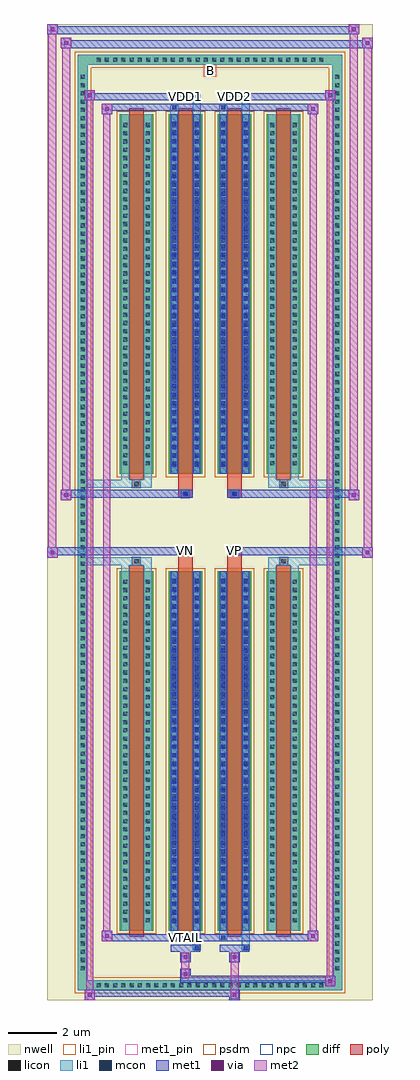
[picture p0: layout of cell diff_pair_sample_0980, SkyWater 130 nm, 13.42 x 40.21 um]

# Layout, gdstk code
import gdstk
lib = gdstk.Library(unit=1e-6, precision=5e-09)
def R(c, l, rs):  # rectangles x0, y0, x1, y1
    for r in rs: c.add(gdstk.rectangle(r[:2], r[2:], *l))
def A(c, l, x, y, w, h, nx, ny, dx, dy):  # array of equal rectangles
    R(c, l, [(x+i*dx, y+j*dy, x+i*dx+w, y+j*dy+h) for i in range(nx) for j in range(ny)])
def P(c, l, *ps):  # polygons
    for p in ps: c.add(gdstk.Polygon(p, *l))
nwell = (64, 20)
diff = (65, 20)
poly = (66, 20)
licon = (66, 44)
li1_pin = (67, 16)
li1 = (67, 20)
mcon = (67, 44)
met1_pin = (68, 16)
met1 = (68, 20)
via = (68, 44)
met2 = (69, 20)
psdm = (94, 20)
npc = (95, 20)

diff_pair_sample_0980 = lib.new_cell('diff_pair_sample_0980')
R(diff_pair_sample_0980, nwell, [(-6.71,-19.67,6.71,20.54), (-4.03,-17.86,-0.01,-0.82), (0.01,-17.86,4.03,-0.82), (-4.03,0.82,-0.01,17.86), (0.01,0.82,4.03,17.86)])
A(diff_pair_sample_0980, diff, -4.795, -19.27, 0.41, 0.41, 28, 2, 0.34, 38.13)
A(diff_pair_sample_0980, diff, -5.44, -18.565, 0.41, 0.41, 1, 109, 0, 0.34)
A(diff_pair_sample_0980, diff, 5.03, -18.565, 0.41, 0.41, 1, 109, 0, 0.34)
A(diff_pair_sample_0980, diff, -3.72, -16.815, 1.38, 14.81, 4, 2, 2.02, 18.82)
R(diff_pair_sample_0980, diff, [(-4.795,-19.27,4.795,-18.86), (-5.44,-18.565,-5.03,18.565), (5.03,-18.565,5.44,18.565), (-4.795,18.86,4.795,19.27)])
P(diff_pair_sample_0980, diff, [(5.44,19.27),(-5.44,19.27),(-5.44,-18.86),(-5.03,-18.86),(-5.03,18.86),(5.03,18.86),(5.03,-18.86),(-5.03,-18.86),(-5.44,-18.86),(-5.44,-19.27),(5.44,-19.27)])
A(diff_pair_sample_0980, poly, -3.33, -17.065, 0.6, 15.31, 4, 2, 2.02, 18.82)
R(diff_pair_sample_0980, poly, [(-3.195,-1.755,-2.865,-1.425), (-3.195,-1.755,-2.865,-1.425), (-1.31,-1.755,-0.71,-1.35), (0.71,-1.755,1.31,-1.35), (2.865,-1.755,3.195,-1.425), (2.865,-1.755,3.195,-1.425), (-1.31,-1.35,-0.71,-1.02), (-1.175,-1.35,-0.845,-1.02), (0.71,-1.35,1.31,-1.02), (0.845,-1.35,1.175,-1.02), (-1.31,1.02,-0.71,1.35), (-1.175,1.02,-0.845,1.35), (0.71,1.02,1.31,1.35), (0.845,1.02,1.175,1.35), (-1.31,1.35,-0.71,1.755), (0.71,1.35,1.31,1.755), (-3.195,1.425,-2.865,1.755), (-3.195,1.425,-2.865,1.755), (2.865,1.425,3.195,1.755), (2.865,1.425,3.195,1.755)])
A(diff_pair_sample_0980, licon, -4.675, -19.15, 0.17, 0.17, 28, 2, 0.34, 38.13)
A(diff_pair_sample_0980, licon, -5.32, -18.445, 0.17, 0.17, 1, 109, 0, 0.34)
A(diff_pair_sample_0980, licon, 5.15, -18.445, 0.17, 0.17, 1, 109, 0, 0.34)
A(diff_pair_sample_0980, licon, -3.58, -16.465, 0.17, 0.17, 1, 42, 0, 0.34)
A(diff_pair_sample_0980, licon, -2.65, -16.465, 0.17, 0.17, 1, 42, 0, 0.34)
A(diff_pair_sample_0980, licon, -1.56, -16.465, 0.17, 0.17, 1, 42, 0, 0.34)
A(diff_pair_sample_0980, licon, -0.63, -16.465, 0.17, 0.17, 1, 42, 0, 0.34)
A(diff_pair_sample_0980, licon, 0.46, -16.465, 0.17, 0.17, 1, 42, 0, 0.34)
A(diff_pair_sample_0980, licon, 1.39, -16.465, 0.17, 0.17, 1, 42, 0, 0.34)
A(diff_pair_sample_0980, licon, 2.48, -16.465, 0.17, 0.17, 1, 42, 0, 0.34)
A(diff_pair_sample_0980, licon, 3.41, -16.465, 0.17, 0.17, 1, 42, 0, 0.34)
A(diff_pair_sample_0980, licon, -3.58, 2.355, 0.17, 0.17, 1, 42, 0, 0.34)
A(diff_pair_sample_0980, licon, -2.65, 2.355, 0.17, 0.17, 1, 42, 0, 0.34)
A(diff_pair_sample_0980, licon, -1.56, 2.355, 0.17, 0.17, 1, 42, 0, 0.34)
A(diff_pair_sample_0980, licon, -0.63, 2.355, 0.17, 0.17, 1, 42, 0, 0.34)
A(diff_pair_sample_0980, licon, 0.46, 2.355, 0.17, 0.17, 1, 42, 0, 0.34)
A(diff_pair_sample_0980, licon, 1.39, 2.355, 0.17, 0.17, 1, 42, 0, 0.34)
A(diff_pair_sample_0980, licon, 2.48, 2.355, 0.17, 0.17, 1, 42, 0, 0.34)
A(diff_pair_sample_0980, licon, 3.41, 2.355, 0.17, 0.17, 1, 42, 0, 0.34)
R(diff_pair_sample_0980, licon, [(-3.115,-1.675,-2.945,-1.505), (2.945,-1.675,3.115,-1.505), (-1.095,-1.27,-0.925,-1.1), (0.925,-1.27,1.095,-1.1), (-1.095,1.1,-0.925,1.27), (0.925,1.1,1.095,1.27), (-3.115,1.505,-2.945,1.675), (2.945,1.505,3.115,1.675)])
R(diff_pair_sample_0980, li1_pin, [(-0.25,18.36,0.25,18.86)])
A(diff_pair_sample_0980, li1, -4.755, -19.23, 0.33, 0.33, 28, 2, 0.34, 38.13)
A(diff_pair_sample_0980, li1, -5.4, -18.525, 0.33, 0.33, 1, 109, 0, 0.34)
A(diff_pair_sample_0980, li1, 5.07, -18.525, 0.33, 0.33, 1, 109, 0, 0.34)
A(diff_pair_sample_0980, li1, -3.66, -16.545, 0.33, 0.33, 1, 42, 0, 0.34)
A(diff_pair_sample_0980, li1, -2.73, -16.545, 0.33, 0.33, 1, 42, 0, 0.34)
A(diff_pair_sample_0980, li1, -1.64, -16.545, 0.33, 0.33, 1, 42, 0, 0.34)
A(diff_pair_sample_0980, li1, -0.71, -16.545, 0.33, 0.33, 1, 42, 0, 0.34)
A(diff_pair_sample_0980, li1, 0.38, -16.545, 0.33, 0.33, 1, 42, 0, 0.34)
A(diff_pair_sample_0980, li1, 1.31, -16.545, 0.33, 0.33, 1, 42, 0, 0.34)
A(diff_pair_sample_0980, li1, 2.4, -16.545, 0.33, 0.33, 1, 42, 0, 0.34)
A(diff_pair_sample_0980, li1, 3.33, -16.545, 0.33, 0.33, 1, 42, 0, 0.34)
A(diff_pair_sample_0980, li1, -1.56, -16.515, 0.17, 0.17, 1, 40, 0, 0.36)
A(diff_pair_sample_0980, li1, -0.63, -16.515, 0.17, 0.17, 1, 40, 0, 0.36)
A(diff_pair_sample_0980, li1, 0.46, -16.515, 0.17, 0.17, 1, 40, 0, 0.36)
A(diff_pair_sample_0980, li1, 1.39, -16.515, 0.17, 0.17, 1, 40, 0, 0.36)
A(diff_pair_sample_0980, li1, -3.66, 2.275, 0.33, 0.33, 1, 42, 0, 0.34)
A(diff_pair_sample_0980, li1, -2.73, 2.275, 0.33, 0.33, 1, 42, 0, 0.34)
A(diff_pair_sample_0980, li1, -1.64, 2.275, 0.33, 0.33, 1, 42, 0, 0.34)
A(diff_pair_sample_0980, li1, -0.71, 2.275, 0.33, 0.33, 1, 42, 0, 0.34)
A(diff_pair_sample_0980, li1, 0.38, 2.275, 0.33, 0.33, 1, 42, 0, 0.34)
A(diff_pair_sample_0980, li1, 1.31, 2.275, 0.33, 0.33, 1, 42, 0, 0.34)
A(diff_pair_sample_0980, li1, 2.4, 2.275, 0.33, 0.33, 1, 42, 0, 0.34)
A(diff_pair_sample_0980, li1, 3.33, 2.275, 0.33, 0.33, 1, 42, 0, 0.34)
A(diff_pair_sample_0980, li1, -1.56, 2.305, 0.17, 0.17, 1, 40, 0, 0.36)
A(diff_pair_sample_0980, li1, -0.63, 2.305, 0.17, 0.17, 1, 40, 0, 0.36)
A(diff_pair_sample_0980, li1, 0.46, 2.305, 0.17, 0.17, 1, 40, 0, 0.36)
A(diff_pair_sample_0980, li1, 1.39, 2.305, 0.17, 0.17, 1, 40, 0, 0.36)
R(diff_pair_sample_0980, li1, [(-5.44,-19.27,-5.03,-18.86), (-5.44,-19.27,-5.03,-18.86), (-5.03,-19.27,5.03,-18.86), (5.03,-19.27,5.44,-18.86), (5.03,-19.27,5.44,-18.86), (-5.44,-18.86,-5.03,18.86), (5.03,-18.86,5.44,18.86), (-0.71,-17.62,-0.38,-16.815), (-0.63,-17.62,-0.46,-17.45), (1.31,-17.62,1.64,-16.815), (1.39,-17.62,1.56,-17.45), (-1.64,-17.19,-1.31,-16.815), (-1.56,-17.19,-1.39,-17.02), (0.38,-17.19,0.71,-16.815), (0.46,-17.19,0.63,-17.02), (-3.66,-16.815,-3.33,-2.005), (-2.73,-16.815,-2.4,-2.005), (-1.64,-16.815,-1.31,-2.005), (-0.71,-16.815,-0.38,-2.005), (0.38,-16.815,0.71,-2.005), (1.31,-16.815,1.64,-2.005), (2.4,-16.815,2.73,-2.005), (3.33,-16.815,3.66,-2.005), (-1.56,-16.515,-1.39,-2.305), (-0.63,-16.515,-0.46,-2.305), (0.46,-16.515,0.63,-2.305), (1.39,-16.515,1.56,-2.305), (-3.66,-2.005,-3.33,-1.425), (-2.73,-2.005,-2.4,-1.425), (2.4,-2.005,2.73,-1.425), (3.33,-2.005,3.66,-1.425), (-5.44,-1.755,-3.195,-1.425), (-3.66,-1.755,-3.195,-1.425), (-3.195,-1.755,-2.865,-1.425), (-2.865,-1.755,-2.4,-1.425), (2.4,-1.755,2.865,-1.425), (2.865,-1.755,3.195,-1.425), (2.865,-1.755,5.44,-1.425), (3.195,-1.755,3.66,-1.425), (-1.175,-1.35,-0.845,-1.02), (0.845,-1.35,1.175,-1.02), (-1.175,1.02,-0.845,1.35), (0.845,1.02,1.175,1.35), (-5.44,1.425,-3.195,1.755), (-3.66,1.425,-3.195,1.755), (-3.66,1.425,-3.33,2.005), (-3.195,1.425,-2.865,1.755), (-2.865,1.425,-2.4,1.755), (-2.73,1.425,-2.4,2.005), (2.4,1.425,2.865,1.755), (2.4,1.425,2.73,2.005), (2.865,1.425,3.195,1.755), (2.865,1.425,5.44,1.755), (3.195,1.425,3.66,1.755), (3.33,1.425,3.66,2.005), (-3.66,2.005,-3.33,16.815), (-2.73,2.005,-2.4,16.815), (-1.64,2.005,-1.31,16.815), (-0.71,2.005,-0.38,16.815), (0.38,2.005,0.71,16.815), (1.31,2.005,1.64,16.815), (2.4,2.005,2.73,16.815), (3.33,2.005,3.66,16.815), (-1.56,2.305,-1.39,16.515), (-0.63,2.305,-0.46,16.515), (0.46,2.305,0.63,16.515), (1.39,2.305,1.56,16.515), (-1.64,16.815,-1.31,17.19), (-0.71,16.815,-0.38,17.62), (0.38,16.815,0.71,17.19), (1.31,16.815,1.64,17.62), (-1.56,17.02,-1.39,17.19), (0.46,17.02,0.63,17.19), (-0.63,17.45,-0.46,17.62), (1.39,17.45,1.56,17.62), (-5.44,18.86,-5.03,19.27), (-5.44,18.86,-5.03,19.27), (-5.03,18.86,5.03,19.27), (5.03,18.86,5.44,19.27), (5.03,18.86,5.44,19.27)])
A(diff_pair_sample_0980, mcon, -1.56, -16.515, 0.17, 0.17, 1, 40, 0, 0.36)
A(diff_pair_sample_0980, mcon, -0.63, -16.515, 0.17, 0.17, 1, 40, 0, 0.36)
A(diff_pair_sample_0980, mcon, 0.46, -16.515, 0.17, 0.17, 1, 40, 0, 0.36)
A(diff_pair_sample_0980, mcon, 1.39, -16.515, 0.17, 0.17, 1, 40, 0, 0.36)
A(diff_pair_sample_0980, mcon, -1.56, 2.305, 0.17, 0.17, 1, 40, 0, 0.36)
A(diff_pair_sample_0980, mcon, -0.63, 2.305, 0.17, 0.17, 1, 40, 0, 0.36)
A(diff_pair_sample_0980, mcon, 0.46, 2.305, 0.17, 0.17, 1, 40, 0, 0.36)
A(diff_pair_sample_0980, mcon, 1.39, 2.305, 0.17, 0.17, 1, 40, 0, 0.36)
R(diff_pair_sample_0980, mcon, [(-0.63,-17.62,-0.46,-17.45), (1.39,-17.62,1.56,-17.45), (-1.56,-17.19,-1.39,-17.02), (0.46,-17.19,0.63,-17.02), (-1.095,-1.27,-0.925,-1.1), (0.925,-1.27,1.095,-1.1), (-1.095,1.1,-0.925,1.27), (0.925,1.1,1.095,1.27), (-1.56,17.02,-1.39,17.19), (0.46,17.02,0.63,17.19), (-0.63,17.45,-0.46,17.62), (1.39,17.45,1.56,17.62)])
R(diff_pair_sample_0980, met1_pin, [(-1.145,-17.23,-0.875,-16.96), (-1.145,-1.29,-0.875,-1.02), (0.875,-1.29,1.145,-1.02), (-1.145,17.41,-0.875,17.68), (0.875,17.41,1.145,17.68)])
A(diff_pair_sample_0980, met1, -1.62, -16.575, 0.29, 0.29, 1, 40, 0, 0.36)
A(diff_pair_sample_0980, met1, -0.69, -16.575, 0.29, 0.29, 1, 40, 0, 0.36)
A(diff_pair_sample_0980, met1, 0.4, -16.575, 0.29, 0.29, 1, 40, 0, 0.36)
A(diff_pair_sample_0980, met1, 1.33, -16.575, 0.29, 0.29, 1, 40, 0, 0.36)
A(diff_pair_sample_0980, met1, -1.62, 2.245, 0.29, 0.29, 1, 40, 0, 0.36)
A(diff_pair_sample_0980, met1, -0.69, 2.245, 0.29, 0.29, 1, 40, 0, 0.36)
A(diff_pair_sample_0980, met1, 0.4, 2.245, 0.29, 0.29, 1, 40, 0, 0.36)
A(diff_pair_sample_0980, met1, 1.33, 2.245, 0.29, 0.29, 1, 40, 0, 0.36)
R(diff_pair_sample_0980, met1, [(-5.17,-19.67,-4.74,-19.24), (0.795,-19.67,1.225,-19.24), (-5.17,-19.53,1.225,-19.24), (4.74,-19.1,5.17,-18.67), (-1.225,-18.96,5.17,-18.67), (-1.225,-18.82,-0.795,-18.39), (-1.225,-18.11,-0.795,-17.68), (0.795,-18.11,1.225,-17.68), (-1.62,-17.68,-0.4,-17.39), (-0.69,-17.68,-0.4,-17.39), (0.4,-17.68,1.62,-17.39), (1.33,-17.68,1.62,-17.39), (-4.46,-17.25,-4.03,-16.82), (-4.46,-17.25,-1.62,-16.96), (-1.62,-17.25,-1.33,-16.96), (-1.62,-17.25,-0.4,-16.96), (-0.4,-17.25,0.4,-16.96), (0.4,-17.25,0.69,-16.96), (0.4,-17.25,1.62,-16.96), (1.62,-17.25,4.46,-16.96), (4.03,-17.25,4.46,-16.82), (-1.62,-16.815,-1.33,-2.005), (-0.69,-16.815,-0.4,-2.005), (0.4,-16.815,0.69,-2.005), (1.33,-16.815,1.62,-2.005), (-6.71,-1.45,-6.28,-1.02), (6.28,-1.45,6.71,-1.02), (-6.71,-1.35,-0.71,-1.02), (-1.31,-1.35,-0.71,-1.02), (0.71,-1.35,1.31,-1.02), (0.71,-1.35,6.71,-1.02), (-1.155,-1.33,-0.865,-1.04), (0.865,-1.33,1.155,-1.04), (-6.14,0.92,-5.71,1.35), (5.71,0.92,6.14,1.35), (-6.14,1.02,-1.31,1.35), (-1.31,1.02,-0.71,1.35), (0.71,1.02,1.31,1.35), (1.31,1.02,6.14,1.35), (-1.155,1.04,-0.865,1.33), (0.865,1.04,1.155,1.33), (-1.62,2.005,-1.33,16.815), (-0.69,2.005,-0.4,16.815), (0.4,2.005,0.69,16.815), (1.33,2.005,1.62,16.815), (-4.46,16.82,-4.03,17.25), (4.03,16.82,4.46,17.25), (-4.46,16.96,-1.62,17.25), (-1.62,16.96,-1.33,17.25), (-1.62,16.96,-0.4,17.25), (-0.4,16.96,0.4,17.25), (0.4,16.96,0.69,17.25), (0.4,16.96,1.62,17.25), (1.62,16.96,4.46,17.25), (-5.17,17.39,-4.74,17.82), (-5.17,17.39,-1.62,17.68), (-1.62,17.39,-0.4,17.68), (-0.69,17.39,-0.4,17.68), (0.4,17.39,1.62,17.68), (1.33,17.39,1.62,17.68), (1.62,17.39,5.17,17.68), (4.74,17.39,5.17,17.82), (-6.14,19.54,-5.71,19.97), (-6.14,19.54,-4.03,19.87), (-4.03,19.54,4.03,19.87), (4.03,19.54,6.71,19.87), (6.28,19.54,6.71,19.97), (-6.71,20.11,-6.28,20.54), (-6.71,20.11,-4.03,20.44), (-4.03,20.11,4.03,20.44), (4.03,20.11,6.14,20.44), (5.71,20.11,6.14,20.54)])
R(diff_pair_sample_0980, via, [(-5.03,-19.53,-4.88,-19.38), (0.935,-19.53,1.085,-19.38), (4.88,-18.96,5.03,-18.81), (-1.085,-18.68,-0.935,-18.53), (-1.085,-17.97,-0.935,-17.82), (0.935,-17.97,1.085,-17.82), (-4.32,-17.11,-4.17,-16.96), (4.17,-17.11,4.32,-16.96), (-6.57,-1.31,-6.42,-1.16), (6.42,-1.31,6.57,-1.16), (-6,1.06,-5.85,1.21), (5.85,1.06,6,1.21), (-4.32,16.96,-4.17,17.11), (4.17,16.96,4.32,17.11), (-5.03,17.53,-4.88,17.68), (4.88,17.53,5.03,17.68), (-6,19.68,-5.85,19.83), (6.42,19.68,6.57,19.83), (-6.57,20.25,-6.42,20.4), (5.85,20.25,6,20.4)])
R(diff_pair_sample_0980, met2, [(-5.17,-19.67,-4.74,-19.24), (-5.1,-19.67,-4.81,17.82), (-4.81,-19.67,-4.74,-19.24), (-5.12,-19.62,-4.79,-19.29), (0.845,-19.62,1.175,-19.29), (0.845,-19.29,1.175,-18.06), (4.74,-19.1,5.17,-18.67), (4.81,-19.1,5.1,17.82), (5.1,-19.1,5.17,-18.67), (4.79,-19.05,5.12,-18.72), (-1.175,-18.77,-0.845,-18.44), (-1.175,-18.44,-0.845,-18.06), (-1.175,-18.06,-0.845,-17.73), (0.845,-18.06,1.175,-17.73), (-4.46,-17.25,-4.03,-16.82), (-4.39,-17.25,-4.1,17.25), (-4.1,-17.25,-4.03,-16.82), (4.03,-17.25,4.46,-16.82), (4.1,-17.25,4.39,17.25), (4.39,-17.25,4.46,-16.82), (-4.41,-17.2,-4.08,-16.87), (4.08,-17.2,4.41,-16.87), (-6.71,-1.45,-6.28,-1.02), (-6.66,-1.45,-6.33,20.54), (-6.33,-1.45,-6.28,-1.02), (6.28,-1.45,6.71,-1.02), (6.33,-1.45,6.66,19.97), (6.66,-1.45,6.71,-1.02), (-6.66,-1.4,-6.33,-1.07), (6.33,-1.4,6.66,-1.07), (-6.14,0.92,-5.71,1.35), (-6.09,0.92,-5.76,19.97), (-5.76,0.92,-5.71,1.35), (5.71,0.92,6.14,1.35), (5.76,0.92,6.09,20.54), (6.09,0.92,6.14,1.35), (-6.09,0.97,-5.76,1.3), (5.76,0.97,6.09,1.3), (-4.46,16.82,-4.03,17.25), (-4.1,16.82,-4.03,17.25), (4.03,16.82,4.46,17.25), (4.39,16.82,4.46,17.25), (-4.41,16.87,-4.08,17.2), (4.08,16.87,4.41,17.2), (-5.17,17.39,-4.74,17.82), (-4.81,17.39,-4.74,17.82), (4.74,17.39,5.17,17.82), (5.1,17.39,5.17,17.82), (-5.12,17.44,-4.79,17.77), (4.79,17.44,5.12,17.77), (-6.14,19.54,-5.71,19.97), (-5.76,19.54,-5.71,19.97), (6.28,19.54,6.71,19.97), (6.66,19.54,6.71,19.97), (-6.09,19.59,-5.76,19.92), (6.33,19.59,6.66,19.92), (-6.71,20.11,-6.28,20.54), (-6.33,20.11,-6.28,20.54), (5.71,20.11,6.14,20.54), (6.09,20.11,6.14,20.54), (-6.66,20.16,-6.33,20.49), (5.76,20.16,6.09,20.49)])
A(diff_pair_sample_0980, psdm, -3.85, -16.945, 1.64, 15.07, 4, 2, 2.02, 18.82)
P(diff_pair_sample_0980, psdm, [(5.57,19.4),(-5.57,19.4),(-5.57,-18.73),(-4.9,-18.73),(-4.9,18.73),(4.9,18.73),(4.9,-18.73),(-4.9,-18.73),(-5.57,-18.73),(-5.57,-19.4),(5.57,-19.4)])
R(diff_pair_sample_0980, npc, [(-3.215,-1.775,-2.845,-1.405), (2.845,-1.775,3.215,-1.405), (-1.195,-1.37,-0.825,-1), (0.825,-1.37,1.195,-1), (-1.195,1,-0.825,1.37), (0.825,1,1.195,1.37), (-3.215,1.405,-2.845,1.775), (2.845,1.405,3.215,1.775)])
diff_pair_sample_0980.add(gdstk.Label('VTAIL', (-1.01,-17.095), layer=68, texttype=5))
diff_pair_sample_0980.add(gdstk.Label('VN', (-1.01,-1.155), layer=68, texttype=5))
diff_pair_sample_0980.add(gdstk.Label('VP', (1.01,-1.155), layer=68, texttype=5))
diff_pair_sample_0980.add(gdstk.Label('B', (0,18.61), layer=67, texttype=5))
diff_pair_sample_0980.add(gdstk.Label('VDD2', (1.01,17.545), layer=68, texttype=5))
diff_pair_sample_0980.add(gdstk.Label('VDD1', (-1.01,17.545), layer=68, texttype=5))

lib.write_gds('diff_pair_sample_0980.gds')
